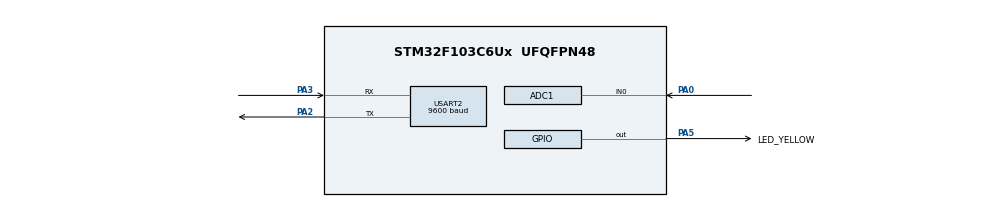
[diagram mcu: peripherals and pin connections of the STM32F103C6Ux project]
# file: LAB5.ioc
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ADC1.Channel-0\#ChannelRegularConversion=ADC_CHANNEL_0
ADC1.ContinuousConvMode=ENABLE
ADC1.NbrOfConversionFlag=1
ADC1.Rank-0\#ChannelRegularConversion=1
ADC1.SamplingTime-0\#ChannelRegularConversion=ADC_SAMPLETIME_1CYCLE_5
ADC1.master=1
Mcu.Family=STM32F1
Mcu.Name=STM32F103C6Ux
Mcu.Package=UFQFPN48
NVIC.PriorityGroup=NVIC_PRIORITYGROUP_4
NVIC.TIM2_IRQn=true\:0\:0\:false\:false\:true\:true\:true
NVIC.USART2_IRQn=true\:0\:0\:false\:false\:true\:true\:true
PA0-WKUP.Signal=ADCx_IN0
PA2.Mode=Asynchronous
PA2.Signal=USART2_TX
PA3.Mode=Asynchronous
PA3.Signal=USART2_RX
PA5.GPIO_Label=LED_YELLOW
PA5.Signal=GPIO_Output
ProjectManager.HeapSize=0x200
ProjectManager.StackSize=0x400
ProjectManager.TargetToolchain=STM32CubeIDE
RCC.APB1Freq_Value=8000000
RCC.APB2Freq_Value=8000000
SH.ADCx_IN0.0=ADC1_IN0,IN0
TIM2.Period=9
TIM2.Prescaler=7999
USART2.BaudRate=9600
USART2.VirtualMode=VM_ASYNC
VP_SYS_VS_ND.Mode=No_Debug
VP_TIM2_VS_ClockSourceINT.Mode=Internal
board=custom

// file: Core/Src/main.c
/* USER CODE BEGIN Header */
/**
  ******************************************************************************
  * @file           : main.c
  * @brief          : Main program body
  ******************************************************************************
  * @attention
  *
  * <h2><center>&copy; Copyright (c) 2025 STMicroelectronics.
  * All rights reserved.</center></h2>
  *
  * This software component is licensed by ST under BSD 3-Clause license,
  * the "License"; You may not use this file except in compliance with the
  * License. You may obtain a copy of the License at:
  *                        opensource.org/licenses/BSD-3-Clause
  *
  ******************************************************************************
  */
/* USER CODE END Header */
#include "main.h"
#include "adc.h"
#include "tim.h"
#include "usart.h"
#include "gpio.h"

/* USER CODE BEGIN Includes */

#include "stm32f1xx_hal.h"
#include "scheduler.h"

#include "command_parser_fsm.h"
#include "uart_communication_fsm.h"

/* USER CODE END Includes */

void SystemClock_Config(void);
/* USER CODE BEGIN PFP */

static void blinky_led_task(void);
static void adc_sample_task(void);

/* USER CODE END PFP */

int main(void)
{

  /* MCU Configuration--------------------------------------------------------*/

  /* Reset of all peripherals, Initializes the Flash interface and the Systick. */
  HAL_Init();

  /* Configure the system clock */
  SystemClock_Config();

  /* Initialize all configured peripherals */
  MX_GPIO_Init();
  MX_ADC1_Init();
  MX_TIM2_Init();
  MX_USART2_UART_Init();
  /* USER CODE BEGIN 2 */

  HAL_TIM_Base_Start_IT(&htim2);   // TIM2 -> scheduler tick

  SCH_Init();                      // init scheduler

  uart_rx_init();                  // arm first byte for interrupt-driven UART RX

  // Add tasks (periods in ticks; 1 tick = SCH_TICK_MS = 10 ms)
  SCH_Add_Task(command_parser_fsm,     0,  1);  // every 10 ms
  SCH_Add_Task(uart_communication_fsm, 1,  1);  // every 10 ms (staggered by 10 ms)
  SCH_Add_Task(adc_sample_task,        0, 10);  // every 100 ms
  SCH_Add_Task(blinky_led_task,        0, 50);  // every 500 ms

  /* USER CODE END 2 */

  /* Infinite loop */
  while (1)
  {

    /* USER CODE BEGIN 3 */
	  SCH_Dispatch_Tasks();
  }
  /* USER CODE END 3 */
}

void SystemClock_Config(void)
{
  RCC_OscInitTypeDef RCC_OscInitStruct = {0};
  RCC_ClkInitTypeDef RCC_ClkInitStruct = {0};
  RCC_PeriphCLKInitTypeDef PeriphClkInit = {0};

  /** Initializes the RCC Oscillators according to the specified parameters
  * in the RCC_OscInitTypeDef structure.
  */
  RCC_OscInitStruct.OscillatorType = RCC_OSCILLATORTYPE_HSI;
  RCC_OscInitStruct.HSIState = RCC_HSI_ON;
  RCC_OscInitStruct.HSICalibrationValue = RCC_HSICALIBRATION_DEFAULT;
  RCC_OscInitStruct.PLL.PLLState = RCC_PLL_NONE;
  if (HAL_RCC_OscConfig(&RCC_OscInitStruct) != HAL_OK)
  {
    Error_Handler();
  }
  /** Initializes the CPU, AHB and APB buses clocks
  */
  RCC_ClkInitStruct.ClockType = RCC_CLOCKTYPE_HCLK|RCC_CLOCKTYPE_SYSCLK
                              |RCC_CLOCKTYPE_PCLK1|RCC_CLOCKTYPE_PCLK2;
  RCC_ClkInitStruct.SYSCLKSource = RCC_SYSCLKSOURCE_HSI;
  RCC_ClkInitStruct.AHBCLKDivider = RCC_SYSCLK_DIV1;
  RCC_ClkInitStruct.APB1CLKDivider = RCC_HCLK_DIV1;
  RCC_ClkInitStruct.APB2CLKDivider = RCC_HCLK_DIV1;

  if (HAL_RCC_ClockConfig(&RCC_ClkInitStruct, FLASH_LATENCY_0) != HAL_OK)
  {
    Error_Handler();
  }
  PeriphClkInit.PeriphClockSelection = RCC_PERIPHCLK_ADC;
  PeriphClkInit.AdcClockSelection = RCC_ADCPCLK2_DIV2;
  if (HAL_RCCEx_PeriphCLKConfig(&PeriphClkInit) != HAL_OK)
  {
    Error_Handler();
  }
}

/* USER CODE BEGIN 4 */
void HAL_TIM_PeriodElapsedCallback(TIM_HandleTypeDef *htim){
  if (htim->Instance == TIM2){
    SCH_Update();   // O(1) tick
  }
}

static void blinky_led_task(void){
  HAL_GPIO_TogglePin(LED_YELLOW_GPIO_Port, LED_YELLOW_Pin);
}

static void adc_sample_task(void){
  HAL_ADC_Start(&hadc1);
  if (HAL_ADC_PollForConversion(&hadc1, 2) == HAL_OK){
    uint16_t v = (uint16_t)(HAL_ADC_GetValue(&hadc1) & 0x0FFF);
    set_latest_adc(v);  // hands value to the UART comm FSM
  }
  HAL_ADC_Stop(&hadc1);
}

/* USER CODE END 4 */

void Error_Handler(void)
{
  __disable_irq();
  while (1)
  {
  }
}

/************************ (C) COPYRIGHT STMicroelectronics *****END OF FILE****/
